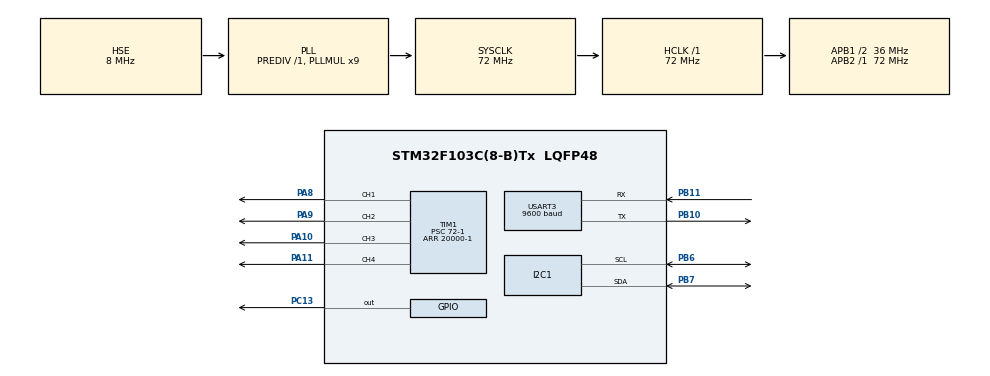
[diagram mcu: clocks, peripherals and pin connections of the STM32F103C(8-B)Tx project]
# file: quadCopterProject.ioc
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Dma.Request0=USART3_RX
Dma.Request1=USART3_TX
Dma.USART3_RX.0.Direction=DMA_PERIPH_TO_MEMORY
Dma.USART3_RX.0.Instance=DMA1_Channel3
Dma.USART3_RX.0.MemDataAlignment=DMA_MDATAALIGN_BYTE
Dma.USART3_RX.0.MemInc=DMA_MINC_ENABLE
Dma.USART3_RX.0.Mode=DMA_NORMAL
Dma.USART3_RX.0.PeriphDataAlignment=DMA_PDATAALIGN_BYTE
Dma.USART3_RX.0.PeriphInc=DMA_PINC_DISABLE
Dma.USART3_RX.0.Priority=DMA_PRIORITY_VERY_HIGH
Dma.USART3_TX.1.Direction=DMA_MEMORY_TO_PERIPH
Dma.USART3_TX.1.Instance=DMA1_Channel2
Dma.USART3_TX.1.MemDataAlignment=DMA_MDATAALIGN_BYTE
Dma.USART3_TX.1.MemInc=DMA_MINC_ENABLE
Dma.USART3_TX.1.Mode=DMA_NORMAL
Dma.USART3_TX.1.PeriphDataAlignment=DMA_PDATAALIGN_BYTE
Dma.USART3_TX.1.PeriphInc=DMA_PINC_DISABLE
Dma.USART3_TX.1.Priority=DMA_PRIORITY_VERY_HIGH
FREERTOS.Tasks01=pidLoop,49,128,pidLoopStart,Default,NULL,Dynamic,NULL,NULL
Mcu.Family=STM32F1
Mcu.Name=STM32F103C(8-B)Tx
Mcu.Package=LQFP48
NVIC.DMA1_Channel2_IRQn=true\:5\:0\:false\:false\:true\:true\:false\:true
NVIC.DMA1_Channel3_IRQn=true\:5\:0\:false\:false\:true\:true\:false\:true
NVIC.PriorityGroup=NVIC_PRIORITYGROUP_4
NVIC.TIM4_IRQn=true\:0\:0\:false\:false\:true\:false\:false\:true
NVIC.TimeBase=TIM4_IRQn
NVIC.TimeBaseIP=TIM4
NVIC.USART3_IRQn=true\:5\:0\:false\:false\:true\:true\:true\:true
PA10.Signal=S_TIM1_CH3
PA11.Signal=S_TIM1_CH4
PA13.Mode=Serial_Wire
PA13.Signal=SYS_JTMS-SWDIO
PA14.Mode=Serial_Wire
PA14.Signal=SYS_JTCK-SWCLK
PA8.Signal=S_TIM1_CH1
PA9.Signal=S_TIM1_CH2
PB10.Mode=Asynchronous
PB10.Signal=USART3_TX
PB11.Mode=Asynchronous
PB11.Signal=USART3_RX
PB6.Mode=I2C
PB6.Signal=I2C1_SCL
PB7.Mode=I2C
PB7.Signal=I2C1_SDA
PC13-TAMPER-RTC.Signal=GPIO_Output
PD0-OSC_IN.Mode=HSE-External-Oscillator
PD0-OSC_IN.Signal=RCC_OSC_IN
PD1-OSC_OUT.Mode=HSE-External-Oscillator
PD1-OSC_OUT.Signal=RCC_OSC_OUT
ProjectManager.HeapSize=0x200
ProjectManager.StackSize=0x400
ProjectManager.TargetToolchain=STM32CubeIDE
RCC.AHBFreq_Value=72000000
RCC.APB1CLKDivider=RCC_HCLK_DIV2
RCC.APB1Freq_Value=36000000
RCC.APB1TimFreq_Value=72000000
RCC.APB2Freq_Value=72000000
RCC.APB2TimFreq_Value=72000000
RCC.HCLKFreq_Value=72000000
RCC.PLLMUL=RCC_PLL_MUL9
RCC.PLLSourceVirtual=RCC_PLLSOURCE_HSE
RCC.SYSCLKFreq_VALUE=72000000
RCC.SYSCLKSource=RCC_SYSCLKSOURCE_PLLCLK
RCC.USBFreq_Value=72000000
SH.S_TIM1_CH1.0=TIM1_CH1,PWM Generation1 CH1
SH.S_TIM1_CH2.0=TIM1_CH2,PWM Generation2 CH2
SH.S_TIM1_CH3.0=TIM1_CH3,PWM Generation3 CH3
SH.S_TIM1_CH4.0=TIM1_CH4,PWM Generation4 CH4
TIM1.Channel-PWM\ Generation1\ CH1=TIM_CHANNEL_1
TIM1.Channel-PWM\ Generation2\ CH2=TIM_CHANNEL_2
TIM1.Channel-PWM\ Generation3\ CH3=TIM_CHANNEL_3
TIM1.Channel-PWM\ Generation4\ CH4=TIM_CHANNEL_4
TIM1.Period=20000-1
TIM1.Prescaler=72-1
TIM1.Pulse-PWM\ Generation1\ CH1=1600
TIM1.Pulse-PWM\ Generation2\ CH2=1600
TIM1.Pulse-PWM\ Generation3\ CH3=1600
TIM1.Pulse-PWM\ Generation4\ CH4=1600
USART3.BaudRate=9600
USART3.Parity=PARITY_NONE
USART3.VirtualMode=VM_ASYNC
VP_FREERTOS_VS_CMSIS_V2.Mode=CMSIS_V2
VP_SYS_VS_tim4.Mode=TIM4
VP_TIM1_VS_ClockSourceINT.Mode=Internal
board=custom

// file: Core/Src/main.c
/* USER CODE BEGIN Header */
/**
 ******************************************************************************
 * @file           : main.c for quadcopterproject
 * @brief          : Main program body
 ******************************************************************************
 * @attention
 *
 * <h2><center>&copy; Copyright (c) 2020 STMicroelectronics.
 * All rights reserved.</center></h2>
 *
 * This software component is licensed by ST under BSD 3-Clause license,
 * the "License"; You may not use this file except in compliance with the
 * License. You may obtain a copy of the License at:
 *                        opensource.org/licenses/BSD-3-Clause
 *
 ******************************************************************************
 */
/* USER CODE END Header */

#include "main.h"
#include "cmsis_os.h"
#include "dma.h"
#include "i2c.h"
#include "tim.h"
#include "usart.h"
#include "gpio.h"

/* USER CODE BEGIN Includes */
#include "stdio.h"
#include "math.h"
#include "stdlib.h"
#include "IMU/imu.h"
#include "constDefines.h"

/* USER CODE END Includes */

/* USER CODE BEGIN PV */
uint8_t receivedData[30] = "012345678901234567890123456789";
uint8_t dataTypeToReturn = 255;
int motorsInit = 0;
int x = 0;
int initComplete = 0;

//PD controller parameters

/* USER CODE END PV */

void SystemClock_Config(void);
void MX_FREERTOS_Init(void);

/* USER CODE BEGIN 0 */

void blinkLED(int numberOn, int duration) {
	if (numberOn == 0) {

		return;
	}
	HAL_GPIO_WritePin(GPIOC, GPIO_PIN_13, GPIO_PIN_SET);
	int delay = (int) duration / numberOn;
	for (int i = 0; i < numberOn; i++) {
		HAL_GPIO_TogglePin(GPIOC, GPIO_PIN_13);
		HAL_Delay((int) delay / 2);
		HAL_GPIO_TogglePin(GPIOC, GPIO_PIN_13);
		HAL_Delay((int) delay / 2);
	}
	HAL_GPIO_WritePin(GPIOC, GPIO_PIN_13, GPIO_PIN_SET);

}
void initUART(void) {
	while (HAL_UART_Receive_DMA(&huart3, receivedData, 30) != HAL_OK) {
		blinkLED(2, 25);
	}
	blinkLED(2, 1000);

}

void escSet(uint32_t channel, uint16_t value) {
	__HAL_TIM_SET_COMPARE(&htim1, channel, value);
}
void initMotors(void) {
	HAL_TIM_PWM_Start(&htim1, TIM_CHANNEL_1);
	HAL_TIM_PWM_Start(&htim1, TIM_CHANNEL_2);
	HAL_TIM_PWM_Start(&htim1, TIM_CHANNEL_3);
	HAL_TIM_PWM_Start(&htim1, TIM_CHANNEL_4);
	escSet(TIM_CHANNEL_1, 500);
	escSet(TIM_CHANNEL_2, 500);
	escSet(TIM_CHANNEL_3, 500);
	escSet(TIM_CHANNEL_4, 500);
	uint8_t debugData[] = MOTORS_INIT;
	HAL_UART_Transmit_DMA(&huart3, debugData, sizeof(debugData));
	HAL_Delay(2000);
}

void initIMU() {
	uint8_t debugData[] = IMU_INIT;
	HAL_UART_Transmit_DMA(&huart3, debugData, sizeof(debugData));
	MPU6050_initialize();
	DMP_Init();

}
void HAL_UART_RxHalfCpltCallback(UART_HandleTypeDef *huart) {

}
void shutMotors(void) {
	HAL_TIM_PWM_Stop(&htim1, TIM_CHANNEL_1);
	HAL_TIM_PWM_Stop(&htim1, TIM_CHANNEL_2);
	HAL_TIM_PWM_Stop(&htim1, TIM_CHANNEL_3);
	HAL_TIM_PWM_Stop(&htim1, TIM_CHANNEL_4);
}
void setMotorsAcro(void) {

	for (int i = 0; i < 20; i++) {
		escSet(TIM_CHANNEL_1, 500 + 100 * i);
		escSet(TIM_CHANNEL_2, 500 + 100 * i);
		escSet(TIM_CHANNEL_3, 500 + 100 * i);
		escSet(TIM_CHANNEL_4, 500 + 100 * i);
		HAL_Delay(1500);
//		setTrim();
	}
}
void HAL_UART_RxCpltCallback(UART_HandleTypeDef *huart) {

	if (receivedData[1] == ARM[0]) {
		initMotors();
		HAL_GPIO_WritePin(GPIOC, GPIO_PIN_13, GPIO_PIN_RESET);
		motorsInit = 1;
	} else if (receivedData[1] == DISARM[0]) {
		shutMotors();
		HAL_GPIO_WritePin(GPIOC, GPIO_PIN_13, GPIO_PIN_SET);
		motorsInit = 0;
	} else if (receivedData[1] == PID_SEND[0]) {
		shutMotors();
		setPidValues(receivedData);
		blinkLED(2,500);
		initMotors();

	} else if (receivedData[1] == TRIM_SEND[0]) {

		shutMotors();
		setTrimValues(receivedData);
		blinkLED(2,1000);
		initMotors();

	} else if (receivedData[1] == ACROMODE[0]) {
		motorsInit = 2;
		setMotorsAcro();
	}
	HAL_UART_Receive_DMA(huart, receivedData, 30);
//	else if (motorsInit == 0) {
//		initMotors();
//
//		motorsInit = 1;
//	} else if (motorsInit == 1) {
//		shutMotors();
//		motorsInit = 0;
//	}

}
void calibrateESC(void) {
	initMotors();
	HAL_GPIO_TogglePin(GPIOC, GPIO_PIN_13);
	escSet(TIM_CHANNEL_1, 2500);
	escSet(TIM_CHANNEL_2, 2500);
	escSet(TIM_CHANNEL_3, 2500);
	escSet(TIM_CHANNEL_4, 2500);
	HAL_Delay(5000);
	HAL_GPIO_TogglePin(GPIOC, GPIO_PIN_13);
	escSet(TIM_CHANNEL_1, 500);
	escSet(TIM_CHANNEL_2, 500);
	escSet(TIM_CHANNEL_3, 500);
	escSet(TIM_CHANNEL_4, 500);
	HAL_Delay(5000);
	HAL_GPIO_TogglePin(GPIOC, GPIO_PIN_13);
	shutMotors();
}
void droneInit(void) {
	//initialize pwm signals.
	sendInitValues();
	initUART();
	initIMU();
	calibrateIMU();
//	if (initComplete == 2) {

//		uint8_t debugData[] = ESC_CALIBRATE	;
//		HAL_UART_Transmit_DMA(&huart3, debugData, sizeof(debugData));

//	calibrateESC();
//	}

	uint8_t debugData[] = DISARMED;
	HAL_UART_Transmit_DMA(&huart3, debugData, sizeof(debugData));

	blinkLED(50, 1000);

}

/* USER CODE END 0 */

int main(void)
{

  /* MCU Configuration--------------------------------------------------------*/

  /* Reset of all peripherals, Initializes the Flash interface and the Systick. */
  HAL_Init();

  /* Configure the system clock */
  SystemClock_Config();

  /* Initialize all configured peripherals */
  MX_GPIO_Init();
  MX_DMA_Init();
  MX_I2C1_Init();
  MX_TIM1_Init();
  MX_USART3_UART_Init();
  /* USER CODE BEGIN 2 */
	blinkLED(10, 8000);
	droneInit();
  /* USER CODE END 2 */

  /* Init scheduler */
  osKernelInitialize();  /* Call init function for freertos objects (in freertos.c) */
  MX_FREERTOS_Init();
  /* Start scheduler */
  osKernelStart();

  /* We should never get here as control is now taken by the scheduler */
  /* Infinite loop */
	while (1) {

    /* USER CODE BEGIN 3 */
		if (motorsInit == 1) {
			Read_DMP();
			computePID();
			setMotors();

			debugIMU();
			HAL_Delay(pidLoopDelay);
		} else if (motorsInit == 0) {
			uint8_t debugData[] = DISARMED;
			HAL_UART_Transmit_DMA(&huart3, debugData, sizeof(debugData));
			HAL_Delay(1000);
		} else if (motorsInit == 2) { //Acro mode
			uint8_t debugData[] = ACROMODE;
			HAL_UART_Transmit_DMA(&huart3, debugData, sizeof(debugData));
			HAL_Delay(pidLoopDelay);
		}

	}
  /* USER CODE END 3 */
}

void SystemClock_Config(void)
{
  RCC_OscInitTypeDef RCC_OscInitStruct = {0};
  RCC_ClkInitTypeDef RCC_ClkInitStruct = {0};

  /** Initializes the CPU, AHB and APB busses clocks
  */
  RCC_OscInitStruct.OscillatorType = RCC_OSCILLATORTYPE_HSE;
  RCC_OscInitStruct.HSEState = RCC_HSE_ON;
  RCC_OscInitStruct.HSEPredivValue = RCC_HSE_PREDIV_DIV1;
  RCC_OscInitStruct.HSIState = RCC_HSI_ON;
  RCC_OscInitStruct.PLL.PLLState = RCC_PLL_ON;
  RCC_OscInitStruct.PLL.PLLSource = RCC_PLLSOURCE_HSE;
  RCC_OscInitStruct.PLL.PLLMUL = RCC_PLL_MUL9;
  if (HAL_RCC_OscConfig(&RCC_OscInitStruct) != HAL_OK)
  {
    Error_Handler();
  }
  /** Initializes the CPU, AHB and APB busses clocks
  */
  RCC_ClkInitStruct.ClockType = RCC_CLOCKTYPE_HCLK|RCC_CLOCKTYPE_SYSCLK
                              |RCC_CLOCKTYPE_PCLK1|RCC_CLOCKTYPE_PCLK2;
  RCC_ClkInitStruct.SYSCLKSource = RCC_SYSCLKSOURCE_PLLCLK;
  RCC_ClkInitStruct.AHBCLKDivider = RCC_SYSCLK_DIV1;
  RCC_ClkInitStruct.APB1CLKDivider = RCC_HCLK_DIV2;
  RCC_ClkInitStruct.APB2CLKDivider = RCC_HCLK_DIV1;

  if (HAL_RCC_ClockConfig(&RCC_ClkInitStruct, FLASH_LATENCY_2) != HAL_OK)
  {
    Error_Handler();
  }
}

 /**
  * @brief  Period elapsed callback in non blocking mode
  * @note   This function is called  when TIM4 interrupt took place, inside
  * HAL_TIM_IRQHandler(). It makes a direct call to HAL_IncTick() to increment
  * a global variable "uwTick" used as application time base.
  * @param  htim : TIM handle
  * @retval None
  */
void HAL_TIM_PeriodElapsedCallback(TIM_HandleTypeDef *htim)
{
  if (htim->Instance == TIM4) {
    HAL_IncTick();
  }
}

void Error_Handler(void)
{
}

/************************ (C) COPYRIGHT STMicroelectronics *****END OF FILE****/

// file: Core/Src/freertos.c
/* USER CODE BEGIN Header */
/**
 ******************************************************************************
 * File Name          : freertos.c
 * Description        : Code for freertos applications
 ******************************************************************************
 * @attention
 *
 * <h2><center>&copy; Copyright (c) 2020 STMicroelectronics.
 * All rights reserved.</center></h2>
 *
 * This software component is licensed by ST under Ultimate Liberty license
 * SLA0044, the "License"; You may not use this file except in compliance with
 * the License. You may obtain a copy of the License at:
 *                             www.st.com/SLA0044
 *
 ******************************************************************************
 */
/* USER CODE END Header */

#include "FreeRTOS.h"
#include "task.h"
#include "main.h"
#include "cmsis_os.h"

/* USER CODE BEGIN Includes */
#include "constDefines.h"
#include "IMU/imu.h"
/* USER CODE END Includes */

/* Definitions for pidLoop */
osThreadId_t pidLoopHandle;
const osThreadAttr_t pidLoop_attributes = {
  .name = "pidLoop",
  .priority = (osPriority_t) osPriorityRealtime1,
  .stack_size = 128 * 4
};

void pidLoopStart(void *argument);

void MX_FREERTOS_Init(void); /* (MISRA C 2004 rule 8.1) */

void MX_FREERTOS_Init(void) {

  /* Create the thread(s) */
  /* creation of pidLoop */
  pidLoopHandle = osThreadNew(pidLoopStart, NULL, &pidLoop_attributes);

}

void pidLoopStart(void *argument)
{
  /* USER CODE BEGIN pidLoopStart */
	/* Infinite loop */
	for (;;) {
		Read_DMP();
		computePID();
		setMotors();
		osDelay(pidLoopDelay);
	}
  /* USER CODE END pidLoopStart */
}

/************************ (C) COPYRIGHT STMicroelectronics *****END OF FILE****/
